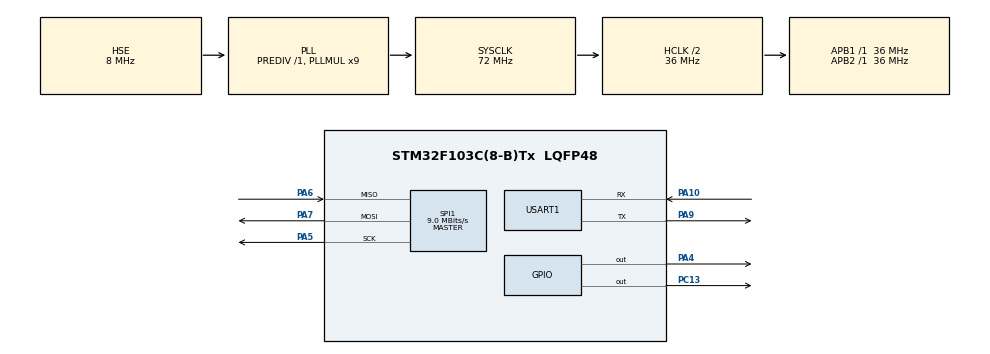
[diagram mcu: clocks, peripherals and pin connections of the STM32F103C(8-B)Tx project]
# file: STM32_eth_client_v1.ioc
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Mcu.Family=STM32F1
Mcu.Name=STM32F103C(8-B)Tx
Mcu.Package=LQFP48
NVIC.PriorityGroup=NVIC_PRIORITYGROUP_4
PA10.Mode=Asynchronous
PA10.Signal=USART1_RX
PA13.Mode=Serial_Wire
PA13.Signal=SYS_JTMS-SWDIO
PA14.Mode=Serial_Wire
PA14.Signal=SYS_JTCK-SWCLK
PA4.Signal=GPIO_Output
PA5.Mode=Full_Duplex_Master
PA5.Signal=SPI1_SCK
PA6.Mode=Full_Duplex_Master
PA6.Signal=SPI1_MISO
PA7.Mode=Full_Duplex_Master
PA7.Signal=SPI1_MOSI
PA9.Mode=Asynchronous
PA9.Signal=USART1_TX
PC13-TAMPER-RTC.Signal=GPIO_Output
PD0-OSC_IN.Mode=HSE-External-Oscillator
PD0-OSC_IN.Signal=RCC_OSC_IN
PD1-OSC_OUT.Mode=HSE-External-Oscillator
PD1-OSC_OUT.Signal=RCC_OSC_OUT
ProjectManager.HeapSize=0x200
ProjectManager.StackSize=0x400
ProjectManager.TargetToolchain=STM32CubeIDE
RCC.AHBCLKDivider=RCC_SYSCLK_DIV2
RCC.AHBFreq_Value=36000000
RCC.APB1Freq_Value=36000000
RCC.APB1TimFreq_Value=36000000
RCC.APB2Freq_Value=36000000
RCC.APB2TimFreq_Value=36000000
RCC.HCLKFreq_Value=36000000
RCC.PLLMUL=RCC_PLL_MUL9
RCC.PLLSourceVirtual=RCC_PLLSOURCE_HSE
RCC.SYSCLKFreq_VALUE=72000000
RCC.SYSCLKSource=RCC_SYSCLKSOURCE_PLLCLK
RCC.USBFreq_Value=72000000
SPI1.BaudRatePrescaler=SPI_BAUDRATEPRESCALER_4
SPI1.CalculateBaudRate=9.0 MBits/s
SPI1.Direction=SPI_DIRECTION_2LINES
SPI1.Mode=SPI_MODE_MASTER
SPI1.VirtualType=VM_MASTER
USART1.VirtualMode=VM_ASYNC
board=custom

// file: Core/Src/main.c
/* USER CODE BEGIN Header */
/**
  ******************************************************************************
  * @file           : main.c
  * @brief          : Main program body
  ******************************************************************************
  * @attention
  *
  * <h2><center>&copy; Copyright (c) 2020 STMicroelectronics.
  * All rights reserved.</center></h2>
  *
  * This software component is licensed by ST under BSD 3-Clause license,
  * the "License"; You may not use this file except in compliance with the
  * License. You may obtain a copy of the License at:
  *                        opensource.org/licenses/BSD-3-Clause
  *
  ******************************************************************************
  */
/* USER CODE END Header */

#include "main.h"

/* USER CODE BEGIN PM */

#define SEPARATOR            "=============================================\r\n"
#define WELCOME_MSG  		 "Welcome to STM32Nucleo Ethernet configuration\r\n"
#define NETWORK_MSG  		 "Network configuration:\r\n"
#define IP_MSG 		 		 "  IP ADDRESS:  %d.%d.%d.%d\r\n"
#define NETMASK_MSG	         "  NETMASK:     %d.%d.%d.%d\r\n"
#define GW_MSG 		 		 "  GATEWAY:     %d.%d.%d.%d\r\n"
#define MAC_MSG		 		 "  MAC ADDRESS: %x:%x:%x:%x:%x:%x\r\n"
#define GREETING_MSG 		 "Well done guys! Welcome to the IoT world. Bye!\r\n"
#define CONN_ESTABLISHED_MSG "Connection established with remote IP: %d.%d.%d.%d:%d\r\n"
#define SENT_MESSAGE_MSG	 "Sent a message. Let's close the socket!\r\n"
#define WRONG_RETVAL_MSG	 "Something went wrong; return value: %d\r\n"
#define WRONG_STATUS_MSG	 "Something went wrong; STATUS: %d\r\n"
#define CONNECT_ERR_MSG		 "CONNECT Error!\r\n"

#define TCP_PORT 5001

#define PRINT_STR(msg) do  {										\
  HAL_UART_Transmit(&huart1, (uint8_t*)msg, strlen(msg), 100);		\
} while(0)

#define PRINT_HEADER() do  {													\
  HAL_UART_Transmit(&huart1, (uint8_t*)SEPARATOR, strlen(SEPARATOR), 100);		\
  HAL_UART_Transmit(&huart1, (uint8_t*)WELCOME_MSG, strlen(WELCOME_MSG), 100);	\
  HAL_UART_Transmit(&huart1, (uint8_t*)SEPARATOR, strlen(SEPARATOR), 100);		\
} while(0)

#define PRINT_NETINFO(netInfo) do { 																					\
  HAL_UART_Transmit(&huart1, (uint8_t*)NETWORK_MSG, strlen(NETWORK_MSG), 100);											\
  sprintf(msg, MAC_MSG, netInfo.mac[0], netInfo.mac[1], netInfo.mac[2], netInfo.mac[3], netInfo.mac[4], netInfo.mac[5]);\
  HAL_UART_Transmit(&huart1, (uint8_t*)msg, strlen(msg), 100);															\
  sprintf(msg, IP_MSG, netInfo.ip[0], netInfo.ip[1], netInfo.ip[2], netInfo.ip[3]);										\
  HAL_UART_Transmit(&huart1, (uint8_t*)msg, strlen(msg), 100);															\
  sprintf(msg, NETMASK_MSG, netInfo.sn[0], netInfo.sn[1], netInfo.sn[2], netInfo.sn[3]);								\
  HAL_UART_Transmit(&huart1, (uint8_t*)msg, strlen(msg), 100);															\
  sprintf(msg, GW_MSG, netInfo.gw[0], netInfo.gw[1], netInfo.gw[2], netInfo.gw[3]);										\
  HAL_UART_Transmit(&huart1, (uint8_t*)msg, strlen(msg), 100);															\
} while(0)

/* USER CODE END PM */

SPI_HandleTypeDef hspi1;

UART_HandleTypeDef huart1;

char msg[60];

void SystemClock_Config(void);
static void MX_GPIO_Init(void);
static void MX_SPI1_Init(void);
static void MX_USART1_UART_Init(void);

/* USER CODE BEGIN 0 */

void cs_sel() {
	HAL_GPIO_WritePin(GPIOA, GPIO_PIN_4, GPIO_PIN_RESET); //CS LOW
}

void cs_desel() {
	HAL_GPIO_WritePin(GPIOA, GPIO_PIN_4, GPIO_PIN_SET); //CS HIGH
}

uint8_t spi_rb(void) {
	uint8_t rbuf;
	HAL_SPI_Receive(&hspi1, &rbuf, 1, 0xFFFFFFFF);
	return rbuf;
}

void spi_wb(uint8_t b) {
	HAL_SPI_Transmit(&hspi1, &b, 1, 0xFFFFFFFF);
}

void SwitchLED (){
	HAL_GPIO_TogglePin(GPIOC, GPIO_PIN_13);
}

/* USER CODE END 0 */

int main(void)
{
  /* USER CODE BEGIN 1 */
	uint8_t retVal, sockStatus;
	int16_t rcvLen;
	uint8_t rcvBuf[60], bufSize[] = {2, 2, 2, 2, 2, 2, 2, 2};
	uint8_t serverIP[4] = {192, 168, 2, 192};

  /* USER CODE END 1 */

  /* MCU Configuration--------------------------------------------------------*/

  /* Reset of all peripherals, Initializes the Flash interface and the Systick. */
  HAL_Init();

  /* Configure the system clock */
  SystemClock_Config();

  /* Initialize all configured peripherals */
  MX_GPIO_Init();
  MX_SPI1_Init();
  MX_USART1_UART_Init();
  /* USER CODE BEGIN 2 */

  PRINT_HEADER();

  reg_wizchip_cs_cbfunc(cs_sel, cs_desel);
  reg_wizchip_spi_cbfunc(spi_rb, spi_wb);
  wizchip_init(bufSize, bufSize);
  wiz_NetInfo netInfo = { .mac		= {0x00, 0x08, 0xdc, 0xab, 0xef}, //Mac Addres
						  .ip 		= {192, 168, 2, 191},
						  .sn		= {255, 255, 255, 0},
						  .gw		= {192, 168, 2, 1} };
  wizchip_setnetinfo(&netInfo);
  wizchip_getnetinfo(&netInfo);
  PRINT_NETINFO(netInfo);

  reconnect:
  	  /*Abro socket 0 en TCP_Socket con TCP_PORT = 5001*/
  	  if((retVal = socket(0, Sn_MR_TCP, TCP_PORT, SF_TCP_NODELAY)) == 0){
  		  HAL_Delay(800);
  		  /*Busco conectarme*/
  		  sockStatus = getSn_SR(0);
  		  	  HAL_Delay(800);

  		  	  while(sockStatus != SOCK_OK)
  		  		  sockStatus = connect(0,serverIP,TCP_PORT);
  		  	if(sockStatus == SOCK_OK){
//  	 		  if((retVal = connect(0,serverIP,TCP_PORT)) == SOCK_OK){
 // 	   		  while((sockStatus = getSn_SR(0)) == Sn_SR)  //Sn_CR
//  	   			  HAL_Delay(1000);
  	   		  sockStatus = getSn_SR(0);

//  	   		  while((sockStatus = getSn_SR(0)) == SOCK_CLOSE_WAIT)
//  	   			  HAL_Delay(100);
  			  while(1){
  				  if((sockStatus = getSn_SR(0)) == SOCK_ESTABLISHED){ // Sn_SR  SE queda aca!! LPM
  				  uint8_t remoteIP[4];
  				  uint16_t remotePort;

  				  getsockopt(0, SO_DESTIP, remoteIP);
  				  getsockopt(0, SO_DESTPORT, (uint8_t*)&remotePort);
  				  sprintf(msg, CONN_ESTABLISHED_MSG, remoteIP[0], remoteIP[1], remoteIP[2], remoteIP[3], remotePort);
  				  PRINT_STR(msg);

//   			  if((retVal = send(0, GREETING_MSG, strlen(GREETING_MSG))) == (int16_t)strlen(GREETING_MSG))

  			      retVal = recv(0, rcvBuf, sizeof(rcvBuf));

  			      PRINT_STR(rcvBuf);

  				  break;
  			  }
  				  else { /* Something went wrong with remote peer, maybe the connection was closed unexpectedly */
   				  sprintf(msg, WRONG_STATUS_MSG, sockStatus);
   				  PRINT_STR(msg);
   				  break;
  				  }
  			  }

  		  }else {/* Ops: socket not in LISTEN mode. Something went wrong */
  	   		  PRINT_STR(CONNECT_ERR_MSG);
  		retVal = recv(0, rcvBuf, sizeof(rcvBuf));
  		  }

  	  }
  	  else { /* Can't open the socket. This means something is wrong with W5100 configuration: maybe SPI issue? */
  	   	  sprintf(msg, WRONG_RETVAL_MSG, retVal);
  	   	  PRINT_STR(msg);
  	  }

  disconnect(0);
  close(0);
  goto reconnect;

  /* USER CODE END 2 */

  /* Infinite loop */
  while (1)
  {

  }
}

void SystemClock_Config(void)
{
  RCC_OscInitTypeDef RCC_OscInitStruct = {0};
  RCC_ClkInitTypeDef RCC_ClkInitStruct = {0};

  /** Initializes the CPU, AHB and APB busses clocks
  */
  RCC_OscInitStruct.OscillatorType = RCC_OSCILLATORTYPE_HSE;
  RCC_OscInitStruct.HSEState = RCC_HSE_ON;
  RCC_OscInitStruct.HSEPredivValue = RCC_HSE_PREDIV_DIV1;
  RCC_OscInitStruct.HSIState = RCC_HSI_ON;
  RCC_OscInitStruct.PLL.PLLState = RCC_PLL_ON;
  RCC_OscInitStruct.PLL.PLLSource = RCC_PLLSOURCE_HSE;
  RCC_OscInitStruct.PLL.PLLMUL = RCC_PLL_MUL9;
  if (HAL_RCC_OscConfig(&RCC_OscInitStruct) != HAL_OK)
  {
    Error_Handler();
  }
  /** Initializes the CPU, AHB and APB busses clocks
  */
  RCC_ClkInitStruct.ClockType = RCC_CLOCKTYPE_HCLK|RCC_CLOCKTYPE_SYSCLK
                              |RCC_CLOCKTYPE_PCLK1|RCC_CLOCKTYPE_PCLK2;
  RCC_ClkInitStruct.SYSCLKSource = RCC_SYSCLKSOURCE_PLLCLK;
  RCC_ClkInitStruct.AHBCLKDivider = RCC_SYSCLK_DIV2;
  RCC_ClkInitStruct.APB1CLKDivider = RCC_HCLK_DIV1;
  RCC_ClkInitStruct.APB2CLKDivider = RCC_HCLK_DIV1;

  if (HAL_RCC_ClockConfig(&RCC_ClkInitStruct, FLASH_LATENCY_2) != HAL_OK)
  {
    Error_Handler();
  }
}

static void MX_SPI1_Init(void)
{

  /* SPI1 parameter configuration*/
  hspi1.Instance = SPI1;
  hspi1.Init.Mode = SPI_MODE_MASTER;
  hspi1.Init.Direction = SPI_DIRECTION_2LINES;
  hspi1.Init.DataSize = SPI_DATASIZE_8BIT;
  hspi1.Init.CLKPolarity = SPI_POLARITY_LOW;
  hspi1.Init.CLKPhase = SPI_PHASE_1EDGE;
  hspi1.Init.NSS = SPI_NSS_SOFT;
  hspi1.Init.BaudRatePrescaler = SPI_BAUDRATEPRESCALER_4;
  hspi1.Init.FirstBit = SPI_FIRSTBIT_MSB;
  hspi1.Init.TIMode = SPI_TIMODE_DISABLE;
  hspi1.Init.CRCCalculation = SPI_CRCCALCULATION_DISABLE;
  hspi1.Init.CRCPolynomial = 10;
  if (HAL_SPI_Init(&hspi1) != HAL_OK)
  {
    Error_Handler();
  }

}

static void MX_USART1_UART_Init(void)
{

  huart1.Instance = USART1;
  huart1.Init.BaudRate = 115200;
  huart1.Init.WordLength = UART_WORDLENGTH_8B;
  huart1.Init.StopBits = UART_STOPBITS_1;
  huart1.Init.Parity = UART_PARITY_NONE;
  huart1.Init.Mode = UART_MODE_TX_RX;
  huart1.Init.HwFlowCtl = UART_HWCONTROL_NONE;
  huart1.Init.OverSampling = UART_OVERSAMPLING_16;
  if (HAL_UART_Init(&huart1) != HAL_OK)
  {
    Error_Handler();
  }

}

static void MX_GPIO_Init(void)
{
  GPIO_InitTypeDef GPIO_InitStruct = {0};

  /* GPIO Ports Clock Enable */
  __HAL_RCC_GPIOC_CLK_ENABLE();
  __HAL_RCC_GPIOD_CLK_ENABLE();
  __HAL_RCC_GPIOA_CLK_ENABLE();

  /*Configure GPIO pin Output Level */
  HAL_GPIO_WritePin(GPIOC, GPIO_PIN_13, GPIO_PIN_RESET);

  /*Configure GPIO pin Output Level */
  HAL_GPIO_WritePin(GPIOA, GPIO_PIN_4, GPIO_PIN_RESET);

  /*Configure GPIO pin : PC13 */
  GPIO_InitStruct.Pin = GPIO_PIN_13;
  GPIO_InitStruct.Mode = GPIO_MODE_OUTPUT_PP;
  GPIO_InitStruct.Pull = GPIO_NOPULL;
  GPIO_InitStruct.Speed = GPIO_SPEED_FREQ_LOW;
  HAL_GPIO_Init(GPIOC, &GPIO_InitStruct);

  /*Configure GPIO pin : PA4 */
  GPIO_InitStruct.Pin = GPIO_PIN_4;
  GPIO_InitStruct.Mode = GPIO_MODE_OUTPUT_PP;
  GPIO_InitStruct.Pull = GPIO_PULLUP;	//GPIO_NOPULL
  GPIO_InitStruct.Speed = GPIO_SPEED_FREQ_LOW;
  HAL_GPIO_Init(GPIOA, &GPIO_InitStruct);

}

void Error_Handler(void)
{
}

/************************ (C) COPYRIGHT STMicroelectronics *****END OF FILE****/
